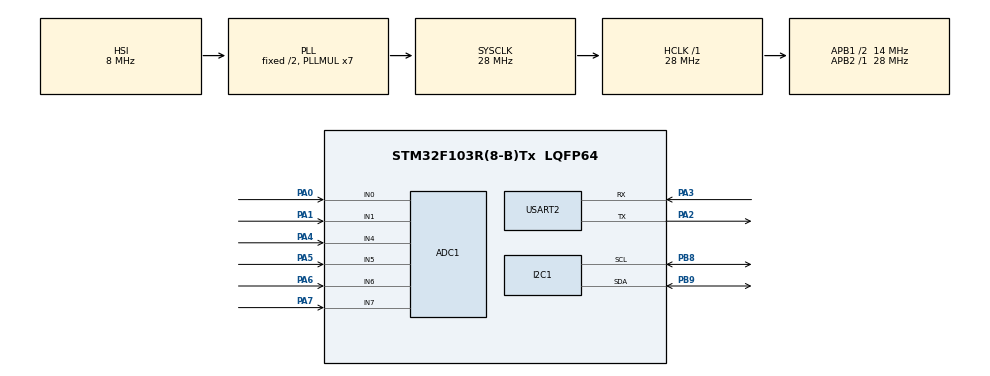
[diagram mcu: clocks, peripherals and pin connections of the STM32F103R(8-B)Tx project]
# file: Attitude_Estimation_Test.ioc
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ADC1.Channel-0\#ChannelRegularConversion=ADC_CHANNEL_0
ADC1.Channel-1\#ChannelRegularConversion=ADC_CHANNEL_1
ADC1.Channel-2\#ChannelRegularConversion=ADC_CHANNEL_4
ADC1.Channel-3\#ChannelRegularConversion=ADC_CHANNEL_5
ADC1.Channel-4\#ChannelRegularConversion=ADC_CHANNEL_6
ADC1.Channel-5\#ChannelRegularConversion=ADC_CHANNEL_7
ADC1.ContinuousConvMode=ENABLE
ADC1.NbrOfConversion=6
ADC1.NbrOfConversionFlag=1
ADC1.Rank-0\#ChannelRegularConversion=1
ADC1.Rank-1\#ChannelRegularConversion=2
ADC1.Rank-2\#ChannelRegularConversion=3
ADC1.Rank-3\#ChannelRegularConversion=4
ADC1.Rank-4\#ChannelRegularConversion=5
ADC1.Rank-5\#ChannelRegularConversion=6
ADC1.SamplingTime-0\#ChannelRegularConversion=ADC_SAMPLETIME_55CYCLES_5
ADC1.SamplingTime-1\#ChannelRegularConversion=ADC_SAMPLETIME_55CYCLES_5
ADC1.SamplingTime-2\#ChannelRegularConversion=ADC_SAMPLETIME_55CYCLES_5
ADC1.SamplingTime-3\#ChannelRegularConversion=ADC_SAMPLETIME_55CYCLES_5
ADC1.SamplingTime-4\#ChannelRegularConversion=ADC_SAMPLETIME_55CYCLES_5
ADC1.SamplingTime-5\#ChannelRegularConversion=ADC_SAMPLETIME_55CYCLES_5
ADC1.master=1
Dma.ADC1.0.Direction=DMA_PERIPH_TO_MEMORY
Dma.ADC1.0.Instance=DMA1_Channel1
Dma.ADC1.0.MemDataAlignment=DMA_MDATAALIGN_WORD
Dma.ADC1.0.MemInc=DMA_MINC_ENABLE
Dma.ADC1.0.Mode=DMA_CIRCULAR
Dma.ADC1.0.PeriphDataAlignment=DMA_PDATAALIGN_WORD
Dma.ADC1.0.PeriphInc=DMA_PINC_DISABLE
Dma.ADC1.0.Priority=DMA_PRIORITY_LOW
Dma.Request0=ADC1
Mcu.Family=STM32F1
Mcu.Name=STM32F103R(8-B)Tx
Mcu.Package=LQFP64
NVIC.DMA1_Channel1_IRQn=true\:0\:0\:false\:false\:true\:false
NVIC.PriorityGroup=NVIC_PRIORITYGROUP_4
PA0-WKUP.Signal=ADCx_IN0
PA1.Signal=ADCx_IN1
PA2.Mode=Asynchronous
PA2.Signal=USART2_TX
PA3.Mode=Asynchronous
PA3.Signal=USART2_RX
PA4.Signal=ADCx_IN4
PA5.Signal=ADCx_IN5
PA6.Signal=ADCx_IN6
PA7.Signal=ADCx_IN7
PB8.Mode=I2C
PB8.Signal=I2C1_SCL
PB9.Mode=I2C
PB9.Signal=I2C1_SDA
ProjectManager.HeapSize=0x1000
ProjectManager.StackSize=0x400
ProjectManager.TargetToolchain=MDK-ARM V5
RCC.AHBFreq_Value=28000000
RCC.APB1CLKDivider=RCC_HCLK_DIV2
RCC.APB1Freq_Value=14000000
RCC.APB1TimFreq_Value=28000000
RCC.APB2Freq_Value=28000000
RCC.APB2TimFreq_Value=28000000
RCC.HCLKFreq_Value=28000000
RCC.PLLMUL=RCC_PLL_MUL7
RCC.RTCClockSelection=RCC_RTCCLKSOURCE_LSE
RCC.SYSCLKFreq_VALUE=28000000
RCC.SYSCLKSource=RCC_SYSCLKSOURCE_PLLCLK
RCC.USBFreq_Value=28000000
SH.ADCx_IN0.0=ADC1_IN0,IN0
SH.ADCx_IN1.0=ADC1_IN1,IN1
SH.ADCx_IN4.0=ADC1_IN4,IN4
SH.ADCx_IN5.0=ADC1_IN5,IN5
SH.ADCx_IN6.0=ADC1_IN6,IN6
SH.ADCx_IN7.0=ADC1_IN7,IN7
USART2.VirtualMode=VM_ASYNC
VP_SYS_VS_ND.Mode=No_Debug
board=NUCLEO-F103RB

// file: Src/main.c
/* USER CODE BEGIN Header */
/**
  ******************************************************************************
  * @file           : main.c
  * @brief          : Main program body
  ******************************************************************************
  ** Attitude estimation test program. Includes unit tests on the Matrix and
	* AttitudeEstimation functions as well as a main loop which runs attitude
	* estimation with the same parameters as the example Matlab program.
	*
	* Working as of 5/8/2019, but the feedback constants are no longer the same as
	* Matlab.
  *
  ******************************************************************************
  */
/* USER CODE END Header */

#include "main.h"

/* USER CODE BEGIN Includes */
#include <AttitudeEstimation.h>
#include <string.h>

/* USER CODE END Includes */

/* USER CODE BEGIN PD */
// #define ATTITUDE_ESTIMATION_UNIT_TEST

/* USER CODE END PD */

ADC_HandleTypeDef hadc1;
DMA_HandleTypeDef hdma_adc1;

I2C_HandleTypeDef hi2c1;

UART_HandleTypeDef huart2;

void SystemClock_Config(void);
static void MX_GPIO_Init(void);
static void MX_DMA_Init(void);
static void MX_I2C1_Init(void);
static void MX_USART2_UART_Init(void);
static void MX_ADC1_Init(void);

int main(void)
{

  /* MCU Configuration--------------------------------------------------------*/

  /* Reset of all peripherals, Initializes the Flash interface and the Systick. */
  HAL_Init();

  /* Configure the system clock */
  SystemClock_Config();

  /* Initialize all configured peripherals */
  MX_GPIO_Init();
  MX_DMA_Init();
  MX_I2C1_Init();
  MX_USART2_UART_Init();
  MX_ADC1_Init();
  /* USER CODE BEGIN 2 */

	char transmit[200];

	ACSType acs;
	initializeACS(&acs);

	acs.gyro_vector = make3x1Vector(0.1, 0.1, 0.1);
	acs.sv_inertial = make3x1Vector(1, 0, 0);
	acs.mag_inertial = make3x1Vector(0, 0, -1);

	acs.dt = 1;

  /* USER CODE END 2 */

  /* Infinite loop */
  /* USER CODE BEGIN WHILE */
  while (1)
  {
		updateAttitudeEstimate(&acs);

		// Print DCM every step
		printMatrix(acs.R, transmit);
		HAL_UART_Transmit(&huart2, (uint8_t*)transmit, strlen(transmit), 200);

		sprintf(transmit, "\r\n");
		HAL_UART_Transmit(&huart2, (uint8_t*)transmit, strlen(transmit), 200);

		printMatrix(acs.gyro_bias, transmit);
		HAL_UART_Transmit(&huart2, (uint8_t*)transmit, strlen(transmit), 200);

		sprintf(transmit, "\r\n");
		HAL_UART_Transmit(&huart2, (uint8_t*)transmit, strlen(transmit), 200);

		HAL_Delay(500);
    /* USER CODE END WHILE */

  }
}

void SystemClock_Config(void)
{
  RCC_OscInitTypeDef RCC_OscInitStruct = {0};
  RCC_ClkInitTypeDef RCC_ClkInitStruct = {0};
  RCC_PeriphCLKInitTypeDef PeriphClkInit = {0};

  /**Initializes the CPU, AHB and APB busses clocks
  */
  RCC_OscInitStruct.OscillatorType = RCC_OSCILLATORTYPE_HSI;
  RCC_OscInitStruct.HSIState = RCC_HSI_ON;
  RCC_OscInitStruct.HSICalibrationValue = RCC_HSICALIBRATION_DEFAULT;
  RCC_OscInitStruct.PLL.PLLState = RCC_PLL_ON;
  RCC_OscInitStruct.PLL.PLLSource = RCC_PLLSOURCE_HSI_DIV2;
  RCC_OscInitStruct.PLL.PLLMUL = RCC_PLL_MUL7;
  if (HAL_RCC_OscConfig(&RCC_OscInitStruct) != HAL_OK)
  {
    Error_Handler();
  }
  /**Initializes the CPU, AHB and APB busses clocks
  */
  RCC_ClkInitStruct.ClockType = RCC_CLOCKTYPE_HCLK|RCC_CLOCKTYPE_SYSCLK
                              |RCC_CLOCKTYPE_PCLK1|RCC_CLOCKTYPE_PCLK2;
  RCC_ClkInitStruct.SYSCLKSource = RCC_SYSCLKSOURCE_PLLCLK;
  RCC_ClkInitStruct.AHBCLKDivider = RCC_SYSCLK_DIV1;
  RCC_ClkInitStruct.APB1CLKDivider = RCC_HCLK_DIV2;
  RCC_ClkInitStruct.APB2CLKDivider = RCC_HCLK_DIV1;

  if (HAL_RCC_ClockConfig(&RCC_ClkInitStruct, FLASH_LATENCY_1) != HAL_OK)
  {
    Error_Handler();
  }
  PeriphClkInit.PeriphClockSelection = RCC_PERIPHCLK_ADC;
  PeriphClkInit.AdcClockSelection = RCC_ADCPCLK2_DIV2;
  if (HAL_RCCEx_PeriphCLKConfig(&PeriphClkInit) != HAL_OK)
  {
    Error_Handler();
  }
}

static void MX_ADC1_Init(void)
{

  ADC_ChannelConfTypeDef sConfig = {0};

  /**Common config
  */
  hadc1.Instance = ADC1;
  hadc1.Init.ScanConvMode = ADC_SCAN_ENABLE;
  hadc1.Init.ContinuousConvMode = ENABLE;
  hadc1.Init.DiscontinuousConvMode = DISABLE;
  hadc1.Init.ExternalTrigConv = ADC_SOFTWARE_START;
  hadc1.Init.DataAlign = ADC_DATAALIGN_RIGHT;
  hadc1.Init.NbrOfConversion = 6;
  if (HAL_ADC_Init(&hadc1) != HAL_OK)
  {
    Error_Handler();
  }
  /**Configure Regular Channel
  */
  sConfig.Channel = ADC_CHANNEL_0;
  sConfig.Rank = ADC_REGULAR_RANK_1;
  sConfig.SamplingTime = ADC_SAMPLETIME_55CYCLES_5;
  if (HAL_ADC_ConfigChannel(&hadc1, &sConfig) != HAL_OK)
  {
    Error_Handler();
  }
  /**Configure Regular Channel
  */
  sConfig.Channel = ADC_CHANNEL_1;
  sConfig.Rank = ADC_REGULAR_RANK_2;
  if (HAL_ADC_ConfigChannel(&hadc1, &sConfig) != HAL_OK)
  {
    Error_Handler();
  }
  /**Configure Regular Channel
  */
  sConfig.Channel = ADC_CHANNEL_4;
  sConfig.Rank = ADC_REGULAR_RANK_3;
  if (HAL_ADC_ConfigChannel(&hadc1, &sConfig) != HAL_OK)
  {
    Error_Handler();
  }
  /**Configure Regular Channel
  */
  sConfig.Channel = ADC_CHANNEL_5;
  sConfig.Rank = ADC_REGULAR_RANK_4;
  if (HAL_ADC_ConfigChannel(&hadc1, &sConfig) != HAL_OK)
  {
    Error_Handler();
  }
  /**Configure Regular Channel
  */
  sConfig.Channel = ADC_CHANNEL_6;
  sConfig.Rank = ADC_REGULAR_RANK_5;
  if (HAL_ADC_ConfigChannel(&hadc1, &sConfig) != HAL_OK)
  {
    Error_Handler();
  }
  /**Configure Regular Channel
  */
  sConfig.Channel = ADC_CHANNEL_7;
  sConfig.Rank = ADC_REGULAR_RANK_6;
  if (HAL_ADC_ConfigChannel(&hadc1, &sConfig) != HAL_OK)
  {
    Error_Handler();
  }

}

static void MX_I2C1_Init(void)
{

  hi2c1.Instance = I2C1;
  hi2c1.Init.ClockSpeed = 100000;
  hi2c1.Init.DutyCycle = I2C_DUTYCYCLE_2;
  hi2c1.Init.OwnAddress1 = 0;
  hi2c1.Init.AddressingMode = I2C_ADDRESSINGMODE_7BIT;
  hi2c1.Init.DualAddressMode = I2C_DUALADDRESS_DISABLE;
  hi2c1.Init.OwnAddress2 = 0;
  hi2c1.Init.GeneralCallMode = I2C_GENERALCALL_DISABLE;
  hi2c1.Init.NoStretchMode = I2C_NOSTRETCH_DISABLE;
  if (HAL_I2C_Init(&hi2c1) != HAL_OK)
  {
    Error_Handler();
  }

}

static void MX_USART2_UART_Init(void)
{

  huart2.Instance = USART2;
  huart2.Init.BaudRate = 115200;
  huart2.Init.WordLength = UART_WORDLENGTH_8B;
  huart2.Init.StopBits = UART_STOPBITS_1;
  huart2.Init.Parity = UART_PARITY_NONE;
  huart2.Init.Mode = UART_MODE_TX_RX;
  huart2.Init.HwFlowCtl = UART_HWCONTROL_NONE;
  huart2.Init.OverSampling = UART_OVERSAMPLING_16;
  if (HAL_UART_Init(&huart2) != HAL_OK)
  {
    Error_Handler();
  }

}

static void MX_DMA_Init(void)
{
  /* DMA controller clock enable */
  __HAL_RCC_DMA1_CLK_ENABLE();

  /* DMA interrupt init */
  /* DMA1_Channel1_IRQn interrupt configuration */
  HAL_NVIC_SetPriority(DMA1_Channel1_IRQn, 0, 0);
  HAL_NVIC_EnableIRQ(DMA1_Channel1_IRQn);

}

static void MX_GPIO_Init(void)
{

  /* GPIO Ports Clock Enable */
  __HAL_RCC_GPIOA_CLK_ENABLE();
  __HAL_RCC_GPIOB_CLK_ENABLE();

}

void Error_Handler(void)
{
}

/************************ (C) COPYRIGHT STMicroelectronics *****END OF FILE****/
